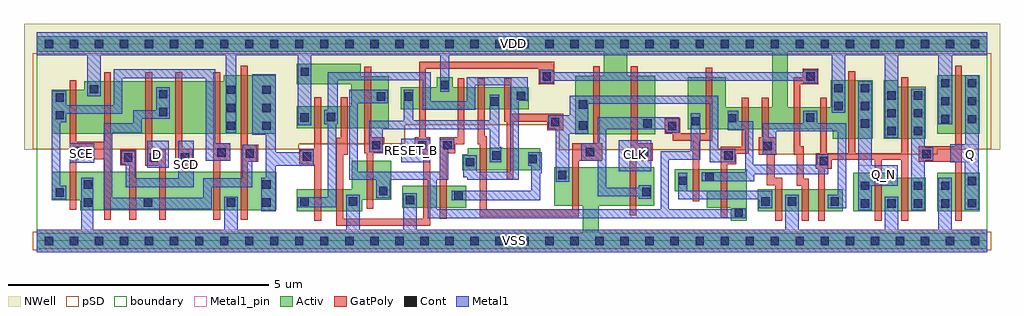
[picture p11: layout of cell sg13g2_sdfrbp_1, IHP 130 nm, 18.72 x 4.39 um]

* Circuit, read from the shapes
.subckt sg13g2_sdfrbp_1 CLK D Q Q_N RESET_B SCD SCE VDD VSS
XM1 VSS SCE n1 VSS sg13_lv_nmos w=0.55u l=0.13u
XM2 n2 SCE VSS VSS sg13_lv_nmos w=0.74u l=0.13u
XM3 n3 SCD n2 VSS sg13_lv_nmos w=0.74u l=0.13u
XM4 n4 D n3 VSS sg13_lv_nmos w=0.74u l=0.13u
XM5 VSS n1 n4 VSS sg13_lv_nmos w=0.74u l=0.13u
XM6 n5 n3 VSS VSS sg13_lv_nmos w=0.74u l=0.13u
XM7 n6 n5 n7 VSS sg13_lv_nmos w=0.42u l=0.13u
XM8 VSS RESET_B n6 VSS sg13_lv_nmos w=0.42u l=0.13u
XM9 n8 n9 VSS VSS sg13_lv_nmos w=0.74u l=0.13u
XM10 n10 RESET_B VSS VSS sg13_lv_nmos w=0.42u l=0.13u
XM11 n11 n8 n10 VSS sg13_lv_nmos w=0.42u l=0.13u
XM12 n9 n12 n7 VSS sg13_lv_nmos w=0.42u l=0.13u
XM13 n11 n13 n9 VSS sg13_lv_nmos w=0.42u l=0.13u
XM14 VSS n12 n13 VSS sg13_lv_nmos w=0.74u l=0.13u
XM15 n12 CLK VSS VSS sg13_lv_nmos w=0.74u l=0.13u
XM16 n14 n12 n15 VSS sg13_lv_nmos w=0.42u l=0.13u
XM17 n8 n13 n14 VSS sg13_lv_nmos w=0.74u l=0.13u
XM18 VSS n16 n15 VSS sg13_lv_nmos w=0.42u l=0.13u
XM19 n17 RESET_B VSS VSS sg13_lv_nmos w=0.42u l=0.13u
XM20 n16 n14 n17 VSS sg13_lv_nmos w=0.42u l=0.13u
XM21 VSS n14 Q_N VSS sg13_lv_nmos w=0.74u l=0.13u
XM22 n18 n14 VSS VSS sg13_lv_nmos w=0.64u l=0.13u
XM23 Q n18 VSS VSS sg13_lv_nmos w=0.74u l=0.13u
XM24 VDD SCE n1 VDD sg13_lv_pmos w=0.84u l=0.13u
XM25 n19 SCE VDD VDD sg13_lv_pmos w=1u l=0.13u
XM26 n3 D n19 VDD sg13_lv_pmos w=1u l=0.13u
XM27 n20 SCD n3 VDD sg13_lv_pmos w=1u l=0.13u
XM28 VDD n1 n20 VDD sg13_lv_pmos w=1u l=0.13u
XM29 n5 n3 VDD VDD sg13_lv_pmos w=1.12u l=0.13u
XM30 n7 n5 VDD VDD sg13_lv_pmos w=0.42u l=0.13u
XM31 VDD RESET_B n7 VDD sg13_lv_pmos w=0.42u l=0.13u
XM32 n8 n9 VDD VDD sg13_lv_pmos w=1u l=0.13u
XM33 VDD RESET_B n9 VDD sg13_lv_pmos w=0.42u l=0.13u
XM34 n21 n8 VDD VDD sg13_lv_pmos w=0.42u l=0.13u
XM35 n9 n12 n21 VDD sg13_lv_pmos w=0.42u l=0.13u
XM36 n7 n13 n9 VDD sg13_lv_pmos w=0.42u l=0.13u
XM37 VDD n12 n13 VDD sg13_lv_pmos w=1.12u l=0.13u
XM38 n12 CLK VDD VDD sg13_lv_pmos w=1.12u l=0.13u
XM39 n14 n12 n8 VDD sg13_lv_pmos w=1u l=0.13u
XM40 n22 n13 n14 VDD sg13_lv_pmos w=0.42u l=0.13u
XM41 VDD n16 n22 VDD sg13_lv_pmos w=0.42u l=0.13u
XM42 n16 RESET_B VDD VDD sg13_lv_pmos w=0.42u l=0.13u
XM43 VDD n14 n16 VDD sg13_lv_pmos w=0.42u l=0.13u
XM44 Q_N n14 VDD VDD sg13_lv_pmos w=1.12u l=0.13u
XM45 n18 n14 VDD VDD sg13_lv_pmos w=1u l=0.13u
XM46 Q n18 VDD VDD sg13_lv_pmos w=1.12u l=0.13u
.ends

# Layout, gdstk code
import gdstk
lib = gdstk.Library(unit=1e-6, precision=1e-09)
def R(c, l, rs):  # rectangles x0, y0, x1, y1
    for r in rs: c.add(gdstk.rectangle(r[:2], r[2:], *l))
def A(c, l, x, y, w, h, nx, ny, dx, dy):  # array of equal rectangles
    R(c, l, [(x+i*dx, y+j*dy, x+i*dx+w, y+j*dy+h) for i in range(nx) for j in range(ny)])
def P(c, l, *ps):  # polygons
    for p in ps: c.add(gdstk.Polygon(p, *l))
Activ = (1, 0)
GatPoly = (5, 0)
Cont = (6, 0)
Metal1 = (8, 0)
Metal1_pin = (8, 2)
pSD = (14, 0)
NWell = (31, 0)
boundary = (189, 4)

sg13g2_sdfrbp_1 = lib.new_cell('sg13g2_sdfrbp_1')
R(sg13g2_sdfrbp_1, Activ, [(0,-0.15,4.8,0.15), (4.8,-0.15,18.24,0.15), (13.83,0.57,15.46,0.99), (17.28,0.57,18.09,1.31), (7.015,0.635,8.245,1.055), (17.28,2.06,18.09,3.18), (0,3.63,4.8,3.93)])
P(sg13g2_sdfrbp_1, Activ, [(0.835,0.59),(0.835,0.78),(0.295,0.78),(0.295,1.33),(4.595,1.33),(4.595,0.59)],
  [(16.25,1.96),(16.25,3.08),(16.515,3.08),(16.515,2.96),(17.06,2.96),(17.06,1.96)],
  [(15.27,1.96),(15.27,2.145),(12.495,2.145),(12.495,3.145),(13.215,3.145),(13.215,2.565),(14.11,2.565),(14.11,3.63),(4.8,3.63),(4.8,3.93),(18.24,3.93),(18.24,3.63),(14.41,3.63),(14.41,2.565),(15.23,2.565),(15.23,3.08),(16.04,3.08),(16.04,1.96)],
  [(15.67,0.57),(15.67,1.31),(16.465,1.31),(16.465,1.21),(17.06,1.21),(17.06,0.57)],
  [(13.32,0.39),(13.32,0.635),(12.86,0.635),(12.86,0.955),(12.245,0.955),(12.245,1.375),(13.62,1.375),(13.62,0.39)],
  [(10.33,2.05),(10.33,3.17),(10.875,3.17),(10.875,3.63),(11.33,3.63),(11.33,3.17),(11.87,3.17),(11.87,2.05)],
  [(10.48,0.15),(10.48,0.675),(9.935,0.675),(9.935,1.415),(11.845,1.415),(11.845,0.675),(10.78,0.675),(10.78,0.15)],
  [(8.165,1.36),(8.165,1.66),(8.275,1.66),(8.275,1.78),(8.705,1.78),(8.705,1.79),(8.945,1.79),(8.945,1.78),(9.66,1.78),(9.66,1.36)],
  [(6.99,2.525),(6.99,2.945),(7.68,2.945),(7.68,3.14),(7.98,3.14),(7.98,2.945),(9.445,2.945),(9.445,2.525)],
  [(4.99,0.57),(4.99,0.99),(6.045,0.99),(6.045,1.535),(6.8,1.535),(6.8,0.795),(6.245,0.795),(6.245,0.57)],
  [(0.295,2.06),(0.295,2.9),(0.915,2.9),(0.915,3.06),(3.59,3.06),(3.59,3.18),(4.59,3.18),(4.59,2.06)],
  [(4.99,2.16),(4.99,2.58),(6.04,2.58),(6.04,3.01),(4.99,3.01),(4.99,3.395),(6.215,3.395),(6.215,3.16),(6.76,3.16),(6.76,2.16)])
P(sg13g2_sdfrbp_1, GatPoly, [(2.665,1.44),(2.665,3.24),(2.795,3.24),(2.795,1.77),(2.995,1.77),(2.995,1.44)],
  [(1.295,0.41),(1.295,1.57),(0.765,1.57),(0.765,0.6),(0.635,0.6),(0.635,3.08),(0.765,3.08),(0.765,1.9),(1.295,1.9),(1.295,3.24),(1.425,3.24),(1.425,0.41)],
  [(3.92,0.41),(3.92,3.36),(4.05,3.36),(4.05,1.85),(4.25,1.85),(4.25,1.52),(4.05,1.52),(4.05,0.41)],
  [(14.68,0.39),(14.68,1.06),(14.585,1.06),(14.585,1.65),(14.52,1.65),(14.52,3.14),(14.695,3.14),(14.695,3.305),(14.995,3.305),(14.995,3.005),(14.65,3.005),(14.65,1.815),(14.715,1.815),(14.715,1.195),(14.81,1.195),(14.81,0.39)],
  [(3.39,0.41),(3.39,3.24),(3.52,3.24),(3.52,1.87),(3.72,1.87),(3.72,1.54),(3.52,1.54),(3.52,0.41)],
  [(13.12,0.445),(13.12,1.805),(13.53,1.805),(13.53,2.745),(13.66,2.745),(13.66,1.675),(13.42,1.675),(13.42,1.475),(13.25,1.475),(13.25,0.445)],
  [(1.78,0.41),(1.78,1.45),(1.61,1.45),(1.61,1.75),(1.91,1.75),(1.91,0.41)],
  [(2.35,0.41),(2.35,1.44),(2.09,1.44),(2.09,3.24),(2.22,3.24),(2.22,1.77),(2.48,1.77),(2.48,0.41)],
  [(17.62,0.39),(17.62,1.515),(16.92,1.515),(16.92,1.815),(17.62,1.815),(17.62,3.36),(17.75,3.36),(17.75,0.39)],
  [(14.17,0.39),(14.17,1.065),(14.005,1.065),(14.005,1.655),(13.855,1.655),(13.855,1.985),(13.91,1.985),(13.91,2.745),(14.04,2.745),(14.04,1.985),(14.185,1.985),(14.185,1.655),(14.155,1.655),(14.155,1.215),(14.3,1.215),(14.3,0.39)],
  [(12.585,0.765),(12.585,1.92),(12.2,1.92),(12.2,2.055),(12.045,2.055),(12.045,2.355),(12.345,2.355),(12.345,2.07),(12.835,2.07),(12.835,3.325),(12.965,3.325),(12.965,1.92),(12.715,1.92),(12.715,0.765)],
  [(14.99,0.39),(14.99,1.385),(14.95,1.385),(14.95,1.685),(15.03,1.685),(15.03,2.745),(15.16,2.745),(15.16,1.685),(15.57,1.685),(15.57,3.26),(15.7,3.26),(15.7,1.685),(16.59,1.685),(16.59,3.14),(16.72,3.14),(16.72,0.39),(16.59,0.39),(16.59,1.555),(16.21,1.555),(16.21,0.39),(16.08,0.39),(16.08,1.555),(15.25,1.555),(15.25,1.385),(15.12,1.385),(15.12,0.39)],
  [(11.375,0.495),(11.375,1.69),(11.4,1.69),(11.4,3.35),(11.53,3.35),(11.53,1.87),(11.82,1.87),(11.82,1.54),(11.505,1.54),(11.505,0.495)],
  [(8.505,0.465),(8.505,1.855),(8.465,1.855),(8.465,3.125),(8.595,3.125),(8.595,2.005),(8.635,2.005),(8.635,0.605),(10.275,0.605),(10.275,1.87),(10.675,1.87),(10.675,3.35),(10.805,3.35),(10.805,1.87),(10.85,1.87),(10.85,1.54),(10.405,1.54),(10.405,0.465)],
  [(9.015,1.18),(9.015,2.29),(8.975,2.29),(8.975,3.125),(9.105,3.125),(9.105,2.44),(10.1,2.44),(10.1,2.125),(9.8,2.125),(9.8,2.29),(9.145,2.29),(9.145,1.18)],
  [(7.735,0.425),(7.735,1.985),(8.075,1.985),(8.075,3.125),(8.205,3.125),(8.205,1.855),(8.035,1.855),(8.035,1.685),(7.865,1.685),(7.865,0.425)],
  [(5.75,0.295),(5.75,1.98),(5.84,1.98),(5.84,2.76),(5.97,2.76),(5.97,1.65),(5.88,1.65),(5.88,0.43),(7.42,0.43),(7.42,1.685),(7.25,1.685),(7.25,1.985),(7.34,1.985),(7.34,3.435),(9.935,3.435),(9.935,3.005),(9.635,3.005),(9.635,3.305),(7.47,3.305),(7.47,1.985),(7.55,1.985),(7.55,0.295)],
  [(6.33,0.615),(6.33,1.685),(6.29,1.685),(6.29,3.34),(6.42,3.34),(6.42,1.985),(6.665,1.985),(6.665,1.685),(6.46,1.685),(6.46,0.615)],
  [(5.33,0.39),(5.33,1.47),(5.035,1.47),(5.035,1.77),(5.33,1.77),(5.33,2.76),(5.46,2.76),(5.46,0.39)])
A(sg13g2_sdfrbp_1, Cont, 4.48, -0.08, 0.16, 0.16, 29, 2, 0.48, 3.78)
A(sg13g2_sdfrbp_1, Cont, 15.81, 0.64, 0.16, 0.16, 3, 1, 0.51, 0)
A(sg13g2_sdfrbp_1, Cont, 16.32, 2.03, 0.16, 0.16, 1, 3, 0, 0.34)
A(sg13g2_sdfrbp_1, Cont, 16.83, 2.03, 0.16, 0.16, 1, 3, 0, 0.34)
A(sg13g2_sdfrbp_1, Cont, 15.81, 2.17, 0.16, 0.16, 1, 3, 0, 0.34)
A(sg13g2_sdfrbp_1, Cont, 17.86, 2.255, 0.16, 0.16, 1, 3, 0, 0.345)
R(sg13g2_sdfrbp_1, Cont, [(0.16,-0.08,0.32,0.08), (0.16,-0.08,0.32,0.08), (0.64,-0.08,0.8,0.08), (0.64,-0.08,0.8,0.08), (1.12,-0.08,1.28,0.08), (1.12,-0.08,1.28,0.08), (1.6,-0.08,1.76,0.08), (1.6,-0.08,1.76,0.08), (2.08,-0.08,2.24,0.08), (2.08,-0.08,2.24,0.08), (2.56,-0.08,2.72,0.08), (2.56,-0.08,2.72,0.08), (3.04,-0.08,3.2,0.08), (3.04,-0.08,3.2,0.08), (3.52,-0.08,3.68,0.08), (3.52,-0.08,3.68,0.08), (4,-0.08,4.16,0.08), (4,-0.08,4.16,0.08), (4.48,-0.08,4.64,0.08), (13.39,0.46,13.55,0.62), (17.35,0.64,17.51,0.8), (17.86,0.645,18.02,0.805), (0.905,0.66,1.065,0.82), (2.06,0.66,2.22,0.82), (3.65,0.66,3.81,0.82), (4.33,0.66,4.49,0.82), (5.06,0.675,5.22,0.835), (5.99,0.675,6.15,0.835), (13.9,0.675,14.06,0.835), (14.41,0.675,14.57,0.835), (15.23,0.675,15.39,0.835), (7.085,0.705,7.245,0.865), (8.015,0.795,8.175,0.955), (0.365,0.85,0.525,1.01), (11.615,0.86,11.775,1.02), (6.57,0.88,6.73,1.04), (15.81,0.98,15.97,1.14), (16.83,0.98,16.99,1.14), (17.35,0.98,17.51,1.14), (0.905,1,1.065,1.16), (4.33,1,4.49,1.16), (17.86,1.07,18.02,1.23), (12.315,1.075,12.475,1.235), (12.825,1.145,12.985,1.305), (10.005,1.185,10.165,1.345), (8.235,1.43,8.395,1.59), (15.02,1.455,15.18,1.615), (9.43,1.49,9.59,1.65), (1.68,1.52,1.84,1.68), (2.17,1.52,2.33,1.68), (2.765,1.52,2.925,1.68), (5.105,1.54,5.265,1.7), (8.745,1.56,8.905,1.72), (13.19,1.56,13.35,1.72), (16.99,1.585,17.15,1.745), (4.01,1.6,4.17,1.76), (3.47,1.62,3.63,1.78), (10.535,1.625,10.695,1.785), (11.575,1.625,11.735,1.785), (0.705,1.65,0.865,1.81), (13.94,1.74,14.1,1.9), (6.435,1.755,6.595,1.915), (7.32,1.755,7.48,1.915), (7.805,1.755,7.965,1.915), (12.115,2.125,12.275,2.285), (3.65,2.13,3.81,2.29), (4.33,2.13,4.49,2.29), (10.4,2.135,10.56,2.295), (11.64,2.175,11.8,2.335), (9.87,2.2,10.03,2.36), (12.565,2.215,12.725,2.375), (17.35,2.26,17.51,2.42), (13.26,2.275,13.42,2.435), (14.76,2.285,14.92,2.445), (5.06,2.29,5.22,2.45), (5.57,2.295,5.73,2.455), (0.365,2.33,0.525,2.49), (2.35,2.395,2.51,2.555), (3.65,2.47,3.81,2.63), (4.33,2.47,4.49,2.63), (15.3,2.51,15.46,2.67), (10.4,2.54,10.56,2.7), (8.705,2.595,8.865,2.755), (17.35,2.6,17.51,2.76), (0.365,2.67,0.525,2.83), (6.53,2.69,6.69,2.85), (7.06,2.69,7.22,2.85), (9.215,2.705,9.375,2.865), (2.35,2.735,2.51,2.895), (3.65,2.82,3.81,2.98), (4.33,2.82,4.49,2.98), (1.025,2.83,1.185,2.99), (15.3,2.85,15.46,3.01), (7.75,2.91,7.91,3.07), (17.35,2.945,17.51,3.105), (9.705,3.075,9.865,3.235), (14.765,3.075,14.925,3.235), (5.065,3.165,5.225,3.325), (0.16,3.7,0.32,3.86), (0.16,3.7,0.32,3.86), (0.64,3.7,0.8,3.86), (0.64,3.7,0.8,3.86), (1.12,3.7,1.28,3.86), (1.12,3.7,1.28,3.86), (1.6,3.7,1.76,3.86), (1.6,3.7,1.76,3.86), (2.08,3.7,2.24,3.86), (2.08,3.7,2.24,3.86), (2.56,3.7,2.72,3.86), (2.56,3.7,2.72,3.86), (3.04,3.7,3.2,3.86), (3.04,3.7,3.2,3.86), (3.52,3.7,3.68,3.86), (3.52,3.7,3.68,3.86), (4,3.7,4.16,3.86), (4,3.7,4.16,3.86), (4.48,3.7,4.64,3.86)])
R(sg13g2_sdfrbp_1, Metal1, [(11.165,1.335,11.79,1.935), (2.12,1.4,2.535,1.92), (0.635,1.5,1.105,1.87), (7,1.51,7.55,1.965)])
P(sg13g2_sdfrbp_1, Metal1, [(0,-0.22),(0,0.22),(0.855,0.22),(0.855,1.21),(1.09,1.21),(1.09,0.22),(3.6,0.22),(3.6,0.845),(3.86,0.845),(3.86,0.22),(5.94,0.22),(5.94,0.885),(6.2,0.885),(6.2,0.22),(7.035,0.22),(7.035,0.915),(7.295,0.915),(7.295,0.22),(14.36,0.22),(14.36,0.885),(14.62,0.885),(14.62,0.22),(16.27,0.22),(16.27,0.85),(16.53,0.85),(16.53,0.22),(17.3,0.22),(17.3,1.21),(17.555,1.21),(17.555,0.22),(18.24,0.22),(18.24,-0.22)],
  [(1.285,0.61),(1.285,2.26),(1.855,2.26),(1.855,2.505),(2.3,2.505),(2.3,2.945),(2.56,2.945),(2.56,2.345),(2.015,2.345),(2.015,2.08),(1.45,2.08),(1.45,0.83),(3.195,0.83),(3.195,1.2),(3.945,1.2),(3.945,1.85),(4.22,1.85),(4.22,1.52),(4.135,1.52),(4.135,1.03),(3.365,1.03),(3.365,0.61)],
  [(0.295,0.8),(0.295,2.88),(0.575,2.88),(0.575,2.6),(1.48,2.6),(1.48,3.295),(3.425,3.295),(3.425,1.87),(3.72,1.87),(3.72,1.54),(3.25,1.54),(3.25,3.125),(1.64,3.125),(1.64,2.44),(0.575,2.44),(0.575,2.28),(0.455,2.28),(0.455,1.06),(0.575,1.06),(0.575,0.8)],
  [(5.01,0.645),(5.01,0.84),(5.59,0.84),(5.59,2.24),(5.52,2.24),(5.52,2.52),(5.59,2.52),(5.59,3.24),(7.565,3.24),(7.565,2.68),(8.255,2.68),(8.255,3.145),(9.425,3.145),(9.425,2.685),(9.25,2.685),(9.25,1.17),(8.265,1.17),(8.265,1.225),(8.185,1.225),(8.185,1.64),(8.445,1.64),(8.445,1.33),(9.09,1.33),(9.09,2.985),(8.415,2.985),(8.415,2.52),(7.405,2.52),(7.405,3.08),(5.78,3.08),(5.78,2.24),(5.75,2.24),(5.75,0.645)],
  [(17.805,0.595),(17.805,1.51),(17.525,1.51),(17.525,1.855),(17.81,1.855),(17.81,3.175),(18.07,3.175),(18.07,0.595)],
  [(4.315,0.57),(4.315,1.21),(4.4,1.21),(4.4,2.04),(4.135,2.04),(4.135,3.2),(4.59,3.2),(4.59,1.7),(5.055,1.7),(5.055,1.75),(5.315,1.75),(5.315,1.445),(4.59,1.445),(4.59,0.57)],
  [(16.27,1.98),(16.27,3.56),(15.51,3.56),(15.51,2.46),(15.25,2.46),(15.25,3.56),(7.915,3.56),(7.915,2.86),(7.745,2.86),(7.745,3.56),(5.27,3.56),(5.27,2.215),(5.015,2.215),(5.015,3.56),(3.83,3.56),(3.83,2.08),(3.63,2.08),(3.63,3.56),(1.235,3.56),(1.235,2.78),(0.975,2.78),(0.975,3.56),(0,3.56),(0,4),(18.24,4),(18.24,3.56),(17.56,3.56),(17.56,2.235),(17.3,2.235),(17.3,3.56),(16.53,3.56),(16.53,1.98)],
  [(9.655,3.025),(9.655,3.285),(9.915,3.285),(9.915,3.235),(14.71,3.235),(14.71,3.285),(14.98,3.285),(14.98,3.025),(14.71,3.025),(14.71,3.075),(9.915,3.075),(9.915,3.025)],
  [(11.555,0.81),(11.555,0.855),(10.765,0.855),(10.765,1.54),(10.45,1.54),(10.45,1.87),(10.765,1.87),(10.765,2.37),(12.325,2.37),(12.325,2.075),(12.065,2.075),(12.065,2.145),(10.925,2.145),(10.925,1.025),(11.555,1.025),(11.555,1.07),(11.79,1.07),(11.79,0.81)],
  [(1.71,1.03),(1.71,1.47),(1.63,1.47),(1.63,1.73),(1.89,1.73),(1.89,1.2),(2.715,1.2),(2.715,1.92),(3.015,1.92),(3.015,1.03)],
  [(7.505,0.44),(7.505,1.17),(6.78,1.17),(6.78,0.815),(6.52,0.815),(6.52,1.17),(6,1.17),(6,2.9),(6.74,2.9),(6.74,2.64),(6.16,2.64),(6.16,1.33),(7.735,1.33),(7.735,1.965),(8.015,1.965),(8.015,1.755),(7.895,1.755),(7.895,1.17),(7.675,1.17),(7.675,0.605),(11.97,0.605),(11.97,1.725),(12.545,1.725),(12.545,2.45),(12.735,2.45),(12.735,1.555),(12.13,1.555),(12.13,0.605),(13.34,0.605),(13.34,0.625),(13.6,0.625),(13.6,0.44)],
  [(16.775,0.59),(16.775,1.98),(16.78,1.98),(16.78,2.92),(17.04,2.92),(17.04,1.795),(17.2,1.795),(17.2,1.535),(17.04,1.535),(17.04,0.59)],
  [(15.76,0.59),(15.76,3.06),(16.02,3.06),(16.02,1.45),(16.52,1.45),(16.52,1.06),(16.02,1.06),(16.02,0.59)],
  [(15.18,0.625),(15.18,0.885),(15.37,0.885),(15.37,2.1),(14.185,2.1),(14.185,1.655),(13.93,1.655),(13.93,2.26),(14.71,2.26),(14.71,2.495),(14.97,2.495),(14.97,2.26),(15.53,2.26),(15.53,0.625)],
  [(12.76,1.145),(12.76,1.315),(13.59,1.315),(13.59,2.125),(13.255,2.125),(13.255,2.5),(13.46,2.5),(13.46,2.295),(13.75,2.295),(13.75,1.465),(14.965,1.465),(14.965,1.665),(15.19,1.665),(15.19,1.275),(13.77,1.275),(13.77,1.145)],
  [(13.85,0.625),(13.85,0.805),(12.31,0.805),(12.31,1.31),(12.48,1.31),(12.48,0.965),(14.11,0.965),(14.11,0.625)],
  [(9.955,1.135),(9.955,2.15),(9.82,2.15),(9.82,2.41),(10.225,2.41),(10.225,2.79),(13.075,2.79),(13.075,1.77),(13.4,1.77),(13.4,1.51),(12.915,1.51),(12.915,2.63),(10.585,2.63),(10.585,2.06),(10.215,2.06),(10.215,1.135)],
  [(7.965,0.785),(7.965,0.96),(9.485,0.96),(9.485,1.44),(9.43,1.44),(9.43,1.7),(9.695,1.7),(9.695,1.3),(9.665,1.3),(9.665,0.785)],
  [(8.69,1.51),(8.69,2.145),(6.645,2.145),(6.645,1.705),(6.385,1.705),(6.385,2.305),(7.045,2.305),(7.045,2.9),(7.225,2.9),(7.225,2.315),(8.69,2.315),(8.69,2.805),(8.875,2.805),(8.875,1.81),(8.91,1.81),(8.91,1.51)])
R(sg13g2_sdfrbp_1, Metal1_pin, [(0,-0.22,18.24,0.22), (2.715,1.03,3.015,1.92), (15.76,1.06,16.52,1.45), (11.165,1.335,11.79,1.935), (2.12,1.4,2.535,1.92), (0.635,1.5,1.105,1.87), (7,1.51,7.55,1.965), (17.525,1.51,18.07,1.855), (0,3.56,18.24,4)])
R(sg13g2_sdfrbp_1, pSD, [(-0.07,-0.18,4.87,0.18), (-0.07,-0.18,18.31,0.18)])
P(sg13g2_sdfrbp_1, pSD, [(14.01,1.66),(14.01,1.75),(10.03,1.75),(10.03,2.225),(7.06,2.225),(7.06,1.86),(5.025,1.86),(5.025,1.76),(-0.07,1.76),(-0.07,3.6),(18.31,3.6),(18.31,1.76),(17.275,1.76),(17.275,1.66)])
P(sg13g2_sdfrbp_1, NWell, [(13.935,1.65),(13.935,1.74),(10.02,1.74),(10.02,2.215),(7.07,2.215),(7.07,1.85),(5.04,1.85),(5.04,1.75),(-0.24,1.75),(-0.24,4.17),(18.48,4.17),(18.48,1.75),(17.29,1.75),(17.29,1.65)])
R(sg13g2_sdfrbp_1, boundary, [(0,0,18.24,3.78)])
sg13g2_sdfrbp_1.add(gdstk.Label('D', (2.325,1.66), layer=8, texttype=25))
sg13g2_sdfrbp_1.add(gdstk.Label('SCE', (0.87,1.685), layer=8, texttype=25))
sg13g2_sdfrbp_1.add(gdstk.Label('CLK', (11.49,1.655), layer=8, texttype=25))
sg13g2_sdfrbp_1.add(gdstk.Label('VSS', (9.17,0), layer=8, texttype=25))
sg13g2_sdfrbp_1.add(gdstk.Label('SCD', (2.885,1.475), layer=8, texttype=25))
sg13g2_sdfrbp_1.add(gdstk.Label('Q', (17.905,1.66), layer=8, texttype=25))
sg13g2_sdfrbp_1.add(gdstk.Label('Q_N', (16.245,1.28), layer=8, texttype=25))
sg13g2_sdfrbp_1.add(gdstk.Label('RESET_B', (7.185,1.73), layer=8, texttype=25))
sg13g2_sdfrbp_1.add(gdstk.Label('VDD', (9.14,3.78), layer=8, texttype=25))

lib.write_gds('sg13g2_sdfrbp_1.gds')
